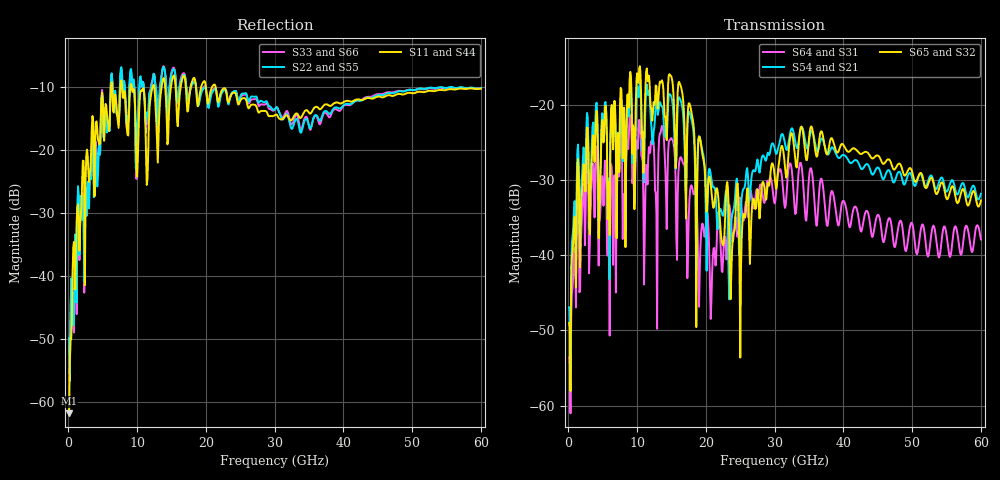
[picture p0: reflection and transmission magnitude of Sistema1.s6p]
! Created by VPF Tool @ TET-TUHH - by terd - on 20-Jul-2016
# GHZ S RI R 50.00
! Data
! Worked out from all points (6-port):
!   600 points, 100 MHz to 60 GHz, reference 50 ohm
!   strongest paths, dB at 100 MHz, 15.1 GHz, 30.1 GHz, 45.1 GHz, 60 GHz:
!     S65: -49.0, -16.8, -30.4, -26.8, -32.7
!     S32: -49.0, -16.8, -30.4, -26.8, -32.7
!     S54: -46.9, -19.5, -26.2, -28.4, -31.8
!     S21: -46.9, -19.5, -26.2, -28.4, -31.8
!     S64: -53.6, -24.6, -32.8, -34.6, -37.9
!     S31: -53.6, -24.6, -32.8, -34.6, -37.9
!   lowest |S11| = -61.8 dB at 100 MHz (marker M1), VSWR 1.00, Z = 50.1 + j0.0442 ohm
!   |S11| at or under -10 dB: start of sweep to 6.19 GHz; 9.226 GHz to 12.23 GHz (3.007 GHz wide, 28 % of centre); 21.43 GHz to end of sweep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
